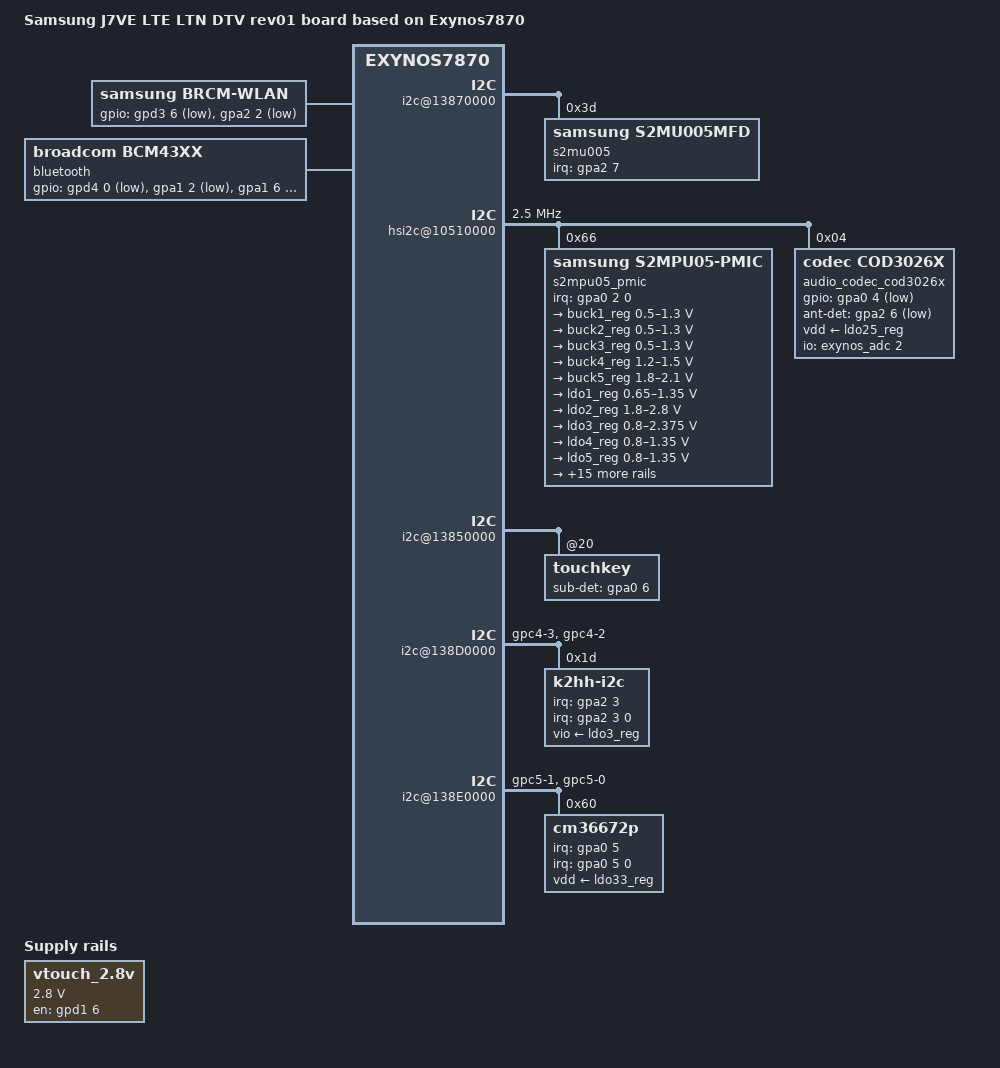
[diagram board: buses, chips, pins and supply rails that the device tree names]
/*
 * SAMSUNG UNIVERSAL8890 board device tree source
 *
 * Copyright (c) 2013 Samsung Electronics Co., Ltd.
 *		http://www.samsung.com
 *
 * This program is free software; you can redistribute it and/or modify
 * it under the terms of the GNU General Public License version 2 as
 * published by the Free Software Foundation.
*/

/dts-v1/;
#include "exynos7870-j7velte_common.dtsi"
#include "modem-ss315ap-pdata.dtsi"
#include "exynos7870-j7velte_ltn_dtv_gpio_01.dtsi"
#include "z_batterydata_j7velte_common.dtsi"
#include "exynos7870-j7velte_ltn_dtv-isdbt_00.dtsi"

/ {
	model = "Samsung J7VE LTE LTN DTV rev01 board based on Exynos7870";
        model_info-chip = <7870>;
        model_info-platform = "android";
        model_info-subtype = "samsung";
        model_info-hw_rev = <1>;
        model_info-hw_rev_end = <2>;
	compatible = "samsung, J7VE LTE LTN DTV 01", "samsung,exynos7870";

	i2c@13870000 {
		status = "okay";
		samsung,i2c-sda-delay = <100>;
		samsung,i2c-max-bus-freq = <400000>;

		s2mu005@3d {
			compatible = "samsung,s2mu005mfd";
			reg = <0x3d>;
			pinctrl-names = "default";
			pinctrl-0 = <&if_pmic_irq>;
			s2mu005,irq-gpio = <&gpa2 7 0>;
			s2mu005,wakeup;

			leds {
				flash-gpio = <&gpd3 2 0>;
				torch-gpio = <&gpd3 3 0>;

				flash_current = <1200>;
				preflash_current = <150>;
				movie_current = <175>; /*unused*/
				torch_current = <75>;
				factory_current = <300>;
				front_torch_current = <50>;

				status = "okay";
				s2mu005-leds1 {
					ledname = "leds-sec1";
					id = <0>;
					timeout = <15>; /* use gpio */
				};

				s2mu005-leds2 {
					ledname = "leds-sec2";
					id = <1>;
					timeout = <15>; /* use gpio */
				};
			};
		};
	};
/*
	i2c@13890000{
		samsung,i2c-sda-delay = <100>;
		samsung,i2c-max-bus-freq = <300000>;
		status = "okay";
		#address-cells = <1>;
		#size-cells = <0>;

		sec-nfc@27 {
			compatible = "sec-nfc";
			reg = <0x27>;
			interrupts = <6 0 0>;
			interrupt-parent = <&gpa2>;
			sec-nfc,nfc_pd = <&gpc2 2 0x2>;
			sec-nfc,firm-gpio = <&gpd4 1 0>;
			sec-nfc,irq-gpio = <&gpa2 6 0>;
			clkctrl-reg = <0x1048600C>;
			sec-nfc,nfc_clkreq = <&gpc2 3 0x2>;
			sec-nfc,pvdd_en = <&gpd2 1 0>;
			sec-nfc,check_nfc = <&gpd1 2 0x0>;
			pinctrl-names = "default";
			pinctrl-0 = <&nfc_n5_firm &nfc_n5_clk_req &nfc_pd &nfc_int &ese_pvdd_en &nfc_pvdd_en &nfc_det>;
		};
	};
*/
	but_zones: but_zones {
		#list-but-cells = <3>;
	};	

	hsi2c@10510000 {
		status = "okay";
		samsung,hs-mode;
		clock-frequency = <2500000>;
		samsung,hsi2c-batcher;
		#address-cells = <1>;
		#size-cells = <0>;

		s2mpu05_pmic@66 {
			compatible = "samsung,s2mpu05-pmic";
			reg = <0x66>;
			ten-bit-address;
			interrupts = <2 0 0>;
			interrupt-parent = <&gpa0>;
			pinctrl-names = "default";
			pinctrl-0 = <&pmic_irq &pm_wrsti>;
			g3d_en = <1>; /* 1 : enable , 0 : disable */
			buck2en_pin = "etc1-3";
			buck2en_addr = "139B0080.pinctrl";
			/* RTC: wtsr/smpl */
			wtsr_en = <1>; /* enable */
			smpl_en = <1>; /* enable */
			wtsr_timer_val = <3>;   /* 1000ms */
			smpl_timer_val = <4>;   /* 500ms */
			check_jigon = <0>; /* do not check jigon */
			/* RTC: If it's first boot, reset rtc to 1/1/2017 12:00:00(Sun) */
			init_time,sec = <0>;
			init_time,min = <0>;
			init_time,hour = <12>;
			init_time,mday = <1>;
			init_time,mon = <0>;
			init_time,year = <117>;
			init_time,wday = <0>;

			regulators {
				buck1_reg: BUCK1 {
					regulator-name = "BUCK1";
					regulator-min-microvolt = <500000>;
					regulator-max-microvolt = <1300000>;
					regulator-always-on;
					regulator-boot-on;
					regulator-ramp-delay = <12000>;
					regulator-initial-mode = <1>;
					regulator-expected-consumer = <2>;
				};

				buck2_reg: BUCK2 {
					regulator-name = "BUCK2";
					regulator-min-microvolt = <500000>;
					regulator-max-microvolt = <1300000>;
					regulator-always-on;
					regulator-boot-on;
					regulator-ramp-delay = <12000>;
					regulator-initial-mode = <2>;		/* MIF mode */
					regulator-expected-consumer = <4>;
				};

				buck3_reg: BUCK3 {
					regulator-name = "BUCK3";
					regulator-min-microvolt = <500000>;
					regulator-max-microvolt = <1300000>;
					regulator-always-on;
					regulator-boot-on;
					regulator-ramp-delay = <12000>;
					regulator-initial-mode = <2>;
				};

				buck4_reg: BUCK4 {
					regulator-name = "BUCK4";
					regulator-min-microvolt = <1200000>;
					regulator-max-microvolt = <1500000>;
					regulator-always-on;
					regulator-boot-on;
					regulator-ramp-delay = <12000>;
					regulator-initial-mode = <2>;
				};

				buck5_reg: BUCK5 {
					regulator-name = "BUCK5";
					regulator-min-microvolt = <1800000>;
					regulator-max-microvolt = <2100000>;
					regulator-always-on;
					regulator-boot-on;
					regulator-ramp-delay = <12000>;
					regulator-initial-mode = <2>;
				};

				ldo1_reg: LDO1 {
					regulator-name = "vdd_ldo1";
					regulator-min-microvolt = <650000>;
					regulator-max-microvolt = <1350000>;
					regulator-always-on;
					regulator-boot-on;
					regulator-ramp-delay = <12000>;
					regulator-initial-mode = <3>;
				};

				ldo2_reg: LDO2 {
					regulator-name = "vqmmc";
					regulator-min-microvolt = <1800000>;
					regulator-max-microvolt = <2800000>;
					regulator-ramp-delay = <12000>;
					regulator-initial-mode = <0>;
				};

				ldo3_reg: LDO3 {
					regulator-name = "vdd_ldo3";
					regulator-min-microvolt = <800000>;
					regulator-max-microvolt = <2375000>;
					regulator-boot-on;
					regulator-always-on;
					regulator-ramp-delay = <12000>;
					regulator-initial-mode = <3>;
				};

				ldo4_reg: LDO4 {
					regulator-name = "vdd_ldo4";
					regulator-min-microvolt = <800000>;
					regulator-max-microvolt = <1350000>;
					regulator-boot-on;
					regulator-always-on;
					regulator-ramp-delay = <12000>;
					regulator-initial-mode = <1>;
				};

				ldo5_reg: LDO5 {
					regulator-name = "vdd_ldo5";
					regulator-min-microvolt = <800000>;
					regulator-max-microvolt = <1350000>;
					regulator-boot-on;
					regulator-always-on;
					regulator-ramp-delay = <12000>;
					regulator-initial-mode = <3>;
				};

				ldo6_reg: LDO6 {
					regulator-name = "vdd_ldo6";
					regulator-min-microvolt = <800000>;
					regulator-max-microvolt = <1350000>;
					regulator-boot-on;
					regulator-always-on;
					regulator-ramp-delay = <12000>;
					regulator-initial-mode = <1>;
				};

				ldo7_reg: LDO7 {
					regulator-name = "vdd_ldo7";
					regulator-min-microvolt = <800000>;
					regulator-max-microvolt = <2375000>;
					regulator-boot-on;
					regulator-always-on;
					regulator-ramp-delay = <12000>;
					regulator-initial-mode = <1>;
				};

				ldo8_reg: LDO8 {
					regulator-name = "vdd_ldo8";
					regulator-min-microvolt = <1800000>;
					regulator-max-microvolt = <3375000>;
					regulator-boot-on;
					regulator-always-on;
					regulator-ramp-delay = <12000>;
					regulator-initial-mode = <1>;
				};

				ldo9_reg: LDO9 {
					regulator-name = "vdd_ldo9";
					regulator-min-microvolt = <650000>;
					regulator-max-microvolt = <1350000>;
					regulator-always-on;
					regulator-ramp-delay = <12000>;
					regulator-initial-mode = <1>;
				};

				ldo10_reg: LDO10 {
					regulator-name = "vdd_ldo10";
					regulator-min-microvolt = <650000>;
					regulator-max-microvolt = <1350000>;
					regulator-always-on;
					regulator-ramp-delay = <12000>;
					regulator-initial-mode = <1>;
				};

				ldo25_reg: LDO25 {
					regulator-name = "vdd_ldo25";
					regulator-min-microvolt = <800000>;
					regulator-max-microvolt = <2375000>;
					regulator-ramp-delay = <12000>;
					regulator-initial-mode = <1>;
				};

				ldo26_reg: LDO26 {
					regulator-name = "vemmc";
					regulator-min-microvolt = <1800000>;
					regulator-max-microvolt = <3375000>;
					regulator-boot-on;
					regulator-ramp-delay = <12000>;
					regulator-initial-mode = <3>;
				};

				ldo27_reg: LDO27 {
					regulator-name = "vqemmc";
					regulator-min-microvolt = <800000>;
					regulator-max-microvolt = <2375000>;
					regulator-boot-on;
					regulator-ramp-delay = <12000>;
					regulator-initial-mode = <3>;
				};

				ldo29_reg: LDO29 {
					regulator-name = "LCD_3P0";
					regulator-min-microvolt = <3000000>;
					regulator-max-microvolt = <3000000>;
					regulator-boot-on;
					regulator-ramp-delay = <12000>;
					regulator-initial-mode = <3>;
				};

				ldo30_reg: LDO30 {
					regulator-name = "LCD_1P8";
					regulator-min-microvolt = <1800000>;
					regulator-max-microvolt = <1800000>;
					regulator-boot-on;
					regulator-ramp-delay = <12000>;
					regulator-initial-mode = <3>;
				};

				ldo31_reg: LDO31 {
					regulator-name = "vdd_ldo31";
					regulator-min-microvolt = <2800000>;
					regulator-max-microvolt = <2800000>;
					regulator-boot-on;
					regulator-always-on;
					regulator-ramp-delay = <12000>;
					regulator-initial-mode = <3>;
				};

				ldo32_reg: LDO32 {
					regulator-name = "VDD_MOTOR_3.3";
					regulator-min-microvolt = <3300000>;
					regulator-max-microvolt = <3300000>;
					regulator-ramp-delay = <12000>;
				};

				ldo33_reg: LDO33 {
					regulator-name = "vdd_sensor_3p3";
					regulator-min-microvolt = <3300000>;
					regulator-max-microvolt = <3300000>;
					regulator-ramp-delay = <12000>;
					regulator-boot-on;
					regulator-always-on;		
					regulator-initial-mode = <3>;
				};

				ldo34_reg: LDO34 {
					regulator-name = "tsp_dvdd";
					regulator-min-microvolt = <3300000>;
					regulator-max-microvolt = <3300000>;
					regulator-ramp-delay = <12000>;
					regulator-initial-mode = <1>;
				};

				ldo35_reg: LDO35 {
					regulator-name = "VDD_CAM_SENSOR_A2P8";
					regulator-min-microvolt = <2800000>;
					regulator-max-microvolt = <2800000>;
					regulator-initial-mode = <0>;
				};
			};
		};

		audio_codec_cod3026x: cod3026x@04 {
			compatible = "codec,cod3026x";
			reg = <0x04>;
			ten-bit-address;
			vdd-supply = <&ldo25_reg>;
			pinctrl-names = "default";
			pinctrl-0 = <&cod3026_irq>;
			interrupt-parent = <&gpa0>;
			gpios = <&gpa0 4 0xf>;
			ant-det-gpio = <&gpa2 6 0xf>;
			mic-bias1-voltage = <1>;
			mic-bias2-voltage = <1>;
			mic-bias-ldo-voltage = <3>;
			use-det-adc-mode;
			io-channels = <&exynos_adc 2>;
			io-channel-names = "adc-jack";
			#io-channel-cells = <1>;
			io-channel-ranges;
			but-zones-list = <&but_zones 226 0 271>, /* send/end */
					<&but_zones 582 272 347>, /* google */
					<&but_zones 115 348 542>, /* vol up */
					<&but_zones 114 543 1000>; /* vol down */
			mic-adc-range = <1371>;
			ant-adc-range = <3400>;
		};
	};

	wlan {
		compatible = "samsung,brcm-wlan";
		gpios = <&gpd3 6 0x1 /* WLAN_EN */
		&gpa2 2 0x1 /* WLAN HOST WAKE GPIO_0 */>;
		pinctrl-names = "default";
		pinctrl-0 = <&cfg_wlanen &cfg_wlanhostwake>;
		status = "okay";
	};
	
	touch_3p3_en {
		compatible = "regulator-fixed";
		regulator-name = "vtouch_2.8v";
		regulator-min-microvolt = <2800000>;
		regulator-max-microvolt = <2800000>;
		gpio = <&gpd1 6 0>;
		enable-active-high;
	};

	i2c@13850000 {
		touchkey@20 {
			coreriver,sub-det-gpio = <&gpa0 6 0>;
			coreriver,regulator_ic = "vtouch_2.8v";
		};
	};

	bluetooth {
		compatible = "broadcom,bcm43xx";
		gpios = <&gpd4 0 0x1	/*BT_EN*/
				&gpa1 2 0x1	/*BT_WAKE*/
				&gpa1 6 0xF	/*BT_HOST_WAKE*/ >;
		pinctrl-names = "default";
		pinctrl-0=<&bt_hostwake &bt_btwake &bt_en>;
		status = "okay";
	};

	pinctrl@139F0000 {
		acc_int: acc_int {
			samsung,pins = "gpa2-3";
			samsung,pin-function = <0xf>;
			samsung,pin-pud = <0>;
			samsung,pin-drv = <0>;
		};

		prox_int: prox_int {
			samsung,pins = "gpa0-5";
			samsung,pin-function = <0xf>;
			samsung,pin-pud = <3>;
			samsung,pin-drv = <0>;
		};
		
		cfg_wlanhostwake: cfg-wlanhostwake {
			samsung,pins = "gpa2-2";
			samsung,pin-function = <0>;
			samsung,pin-pud = <1>;
		};
	};

	pinctrl@13750000 {
		sd1_bus1: sd1-bus-width1 {
			samsung,pin-pud = <3>;
		};

		sd1_bus4: sd1-bus-width4 {
			samsung,pin-pud = <3>;
		};

	};

	pinctrl@139B0000 {
		sensor_i2c: sensor_i2c {
			samsung,pins = "gpc4-3", "gpc4-2";
			samsung,pin-function = <2>;
			samsung,pin-pud = <0>;
		};

		proxy_i2c: proxy_i2c {
			samsung,pins = "gpc5-1", "gpc5-0";
			samsung,pin-function = <2>;
			samsung,pin-pud = <0>;
		};

		grip_i2c: grip_i2c-bus {
			samsung,pins = "gpc1-3", "gpc1-2";
			samsung,pin-function = <2>;
			samsung,pin-pud = <0>;
		};

		cfg_wlanen: cfg-wlanen  {       /* WLAN_EN */
			samsung,pins = "gpd3-6";
			samsung,pin-function = <1>;
			samsung,pin-pud = <0>;
			samsung,pin-drv = <3>;
			samsung,pin-con-pdn = <3>;
			samsung,pin-pud-pdn = <0>;
			samsung,pin-val = <0>;
		};

		nfc_det: nfc-det {
			samsung,pins = "gpd1-2";
			samsung,pin-function = <0>;
			samsung,pin-pud = <0>;
		};		
	};

	i2c@138D0000 {
		samsung,i2c-sda-delay = <100>;
		samsung,i2c-max-bus-freq = <400000>;
		status = "okay";
		#address-cells = <1>;
		#size-cells = <0>;
		pinctrl-names = "default";
		pinctrl-0 = <&sensor_i2c>;

		k2hh-i2c@1D {
			compatible = "k2hh-i2c";
			reg = <0x1D>;
			pinctrl-names = "default";
			pinctrl-0 = <&acc_int>;
			interrupt-parent = <&gpa2>;
			interrupts = <3 0 0>;
			k2hh,irq_gpio = <&gpa2 3 0>;
			k2hh,vio-supply = <&ldo3_reg>;
			k2hh,axis_map_x = <1>;
			k2hh,axis_map_y = <0>;
			k2hh,axis_map_z = <2>;
			k2hh,negate_x = <0>;
			k2hh,negate_y = <1>;
			k2hh,negate_z = <1>;
			k2hh,poll_interval = <100>;
			k2hh,min_interval = <2>;
		};
	};

	i2c@138E0000 {
		samsung,i2c-sda-delay = <100>;
		samsung,i2c-max-bus-freq = <400000>;
		status = "okay";
		#address-cells = <1>;
		#size-cells = <0>;
		pinctrl-names = "default";
		pinctrl-0 = <&proxy_i2c>;

		cm36672p@60 {
			compatible = "cm36672p";
			reg = <0x60>;
			pinctrl-names = "default";
			pinctrl-0 = <&prox_int>;
			interrupt-parent = <&gpa0>;
			interrupts = <5 0 0>;
			cm36672p,irq_gpio = <&gpa0 5 0>;
			cm36672p,vdd-supply = <&ldo33_reg>;
			cm36672p,vdd_always_on = <1>;
			cm36672p,regulator_divided = <0>;
			cm36672p,vled_ldo = <&gpd4 2 0x1>;
			cm36672p,default_hi_thd = <25>;
			cm36672p,default_low_thd = <15>;
			cm36672p,cancel_hi_thd = <10>;
			cm36672p,cancel_low_thd = <7>;
			cm36672p,offset_range_hi = <21>;
			cm36672p,offset_range_low = <11>;
			cm36672p,default_trim = <10>;
			cm36672p,ps_duty = <2>;
			cm36672p,ps_pers = <2>;
			cm36672p,ps_it = <5>;
			cm36672p,led_current = <5>;
			cm36672p,ps_smart_pers = <1>;
		};
	};
};
